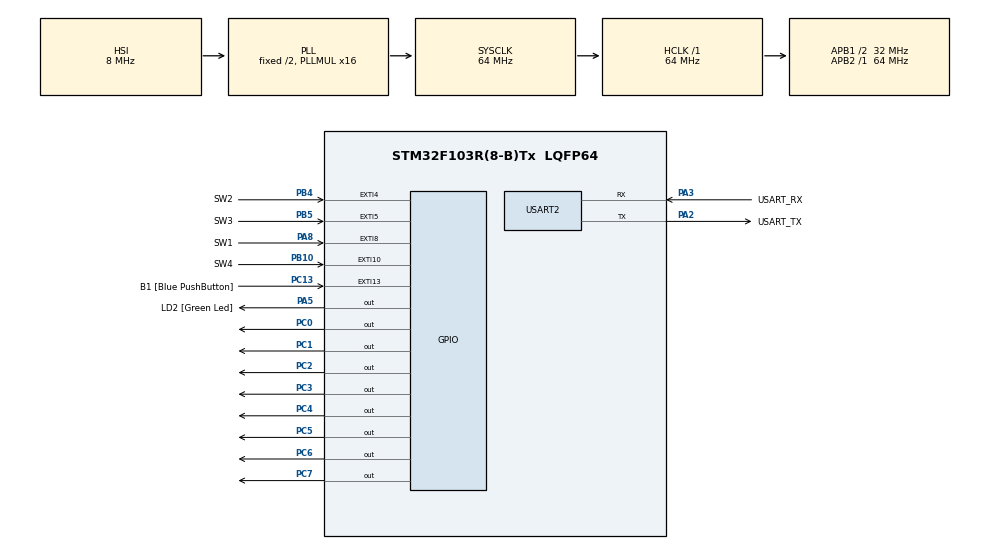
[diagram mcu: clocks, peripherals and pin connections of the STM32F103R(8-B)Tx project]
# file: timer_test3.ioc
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Mcu.Family=STM32F1
Mcu.Name=STM32F103R(8-B)Tx
Mcu.Package=LQFP64
NVIC.EXTI15_10_IRQn=true\:0\:0\:false\:false\:true\:true\:true\:true
NVIC.EXTI4_IRQn=true\:0\:0\:false\:false\:true\:true\:true\:true
NVIC.EXTI9_5_IRQn=true\:0\:0\:false\:false\:true\:true\:true\:true
NVIC.PriorityGroup=NVIC_PRIORITYGROUP_4
NVIC.TIM2_IRQn=true\:0\:0\:false\:false\:true\:true\:true\:true
PA13.GPIO_Label=TMS
PA13.Mode=Serial_Wire
PA13.Signal=SYS_JTMS-SWDIO
PA14.GPIO_Label=TCK
PA14.Mode=Serial_Wire
PA14.Signal=SYS_JTCK-SWCLK
PA2.GPIO_Label=USART_TX
PA2.GPIO_Mode=GPIO_MODE_AF_PP
PA2.GPIO_PuPd=GPIO_NOPULL
PA2.GPIO_Speed=GPIO_SPEED_FREQ_LOW
PA2.Mode=Asynchronous
PA2.Signal=USART2_TX
PA3.GPIO_Label=USART_RX
PA3.GPIO_Mode=GPIO_MODE_AF_PP
PA3.GPIO_PuPd=GPIO_NOPULL
PA3.GPIO_Speed=GPIO_SPEED_FREQ_LOW
PA3.Mode=Asynchronous
PA3.Signal=USART2_RX
PA5.GPIO_Label=LD2 [Green Led]
PA5.GPIO_ModeDefaultOutputPP=GPIO_MODE_OUTPUT_PP
PA5.GPIO_PuPd=GPIO_NOPULL
PA5.GPIO_Speed=GPIO_SPEED_FREQ_LOW
PA5.Signal=GPIO_Output
PA8.GPIO_Label=SW1
PA8.Signal=GPXTI8
PB10.GPIO_Label=SW4
PB10.Signal=GPXTI10
PB3.GPIO_Label=SWO
PB3.Signal=SYS_JTDO-TRACESWO
PB4.GPIO_Label=SW2
PB4.Signal=GPXTI4
PB5.GPIO_Label=SW3
PB5.Signal=GPXTI5
PC0.Signal=GPIO_Output
PC1.Signal=GPIO_Output
PC13-TAMPER-RTC.GPIO_Label=B1 [Blue PushButton]
PC13-TAMPER-RTC.GPIO_PuPd=GPIO_NOPULL
PC13-TAMPER-RTC.Signal=GPXTI13
PC14-OSC32_IN.Mode=LSE-External-Oscillator
PC14-OSC32_IN.Signal=RCC_OSC32_IN
PC15-OSC32_OUT.Mode=LSE-External-Oscillator
PC15-OSC32_OUT.Signal=RCC_OSC32_OUT
PC2.Signal=GPIO_Output
PC3.Signal=GPIO_Output
PC4.Signal=GPIO_Output
PC5.Signal=GPIO_Output
PC6.Signal=GPIO_Output
PC7.Signal=GPIO_Output
PD0-OSC_IN.Mode=HSE-External-Clock-Source
PD0-OSC_IN.Signal=RCC_OSC_IN
PD1-OSC_OUT.Mode=HSE-External-Clock-Source
PD1-OSC_OUT.Signal=RCC_OSC_OUT
ProjectManager.HeapSize=0x200
ProjectManager.StackSize=0x400
ProjectManager.TargetToolchain=STM32CubeIDE
RCC.AHBFreq_Value=64000000
RCC.APB1CLKDivider=RCC_HCLK_DIV2
RCC.APB1Freq_Value=32000000
RCC.APB1TimFreq_Value=64000000
RCC.APB2Freq_Value=64000000
RCC.APB2TimFreq_Value=64000000
RCC.HCLKFreq_Value=64000000
RCC.PLLMUL=RCC_PLL_MUL16
RCC.RTCClockSelection=RCC_RTCCLKSOURCE_LSE
RCC.SYSCLKFreq_VALUE=64000000
RCC.SYSCLKSource=RCC_SYSCLKSOURCE_PLLCLK
RCC.USBFreq_Value=64000000
TIM2.Channel-Output\ Compare1\ No\ Output=TIM_CHANNEL_1
TIM2.Period=10000-1
TIM2.Prescaler=6400-1
TIM2.Pulse-Output\ Compare1\ No\ Output=10000-1
USART2.VirtualMode=VM_ASYNC
VP_TIM2_VS_ClockSourceINT.Mode=Internal
VP_TIM2_VS_no_output1.Mode=Output Compare1 No Output
board=NUCLEO-F103RB

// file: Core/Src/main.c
/* USER CODE BEGIN Header */
/**
  ******************************************************************************
  * @file           : main.c
  * @brief          : Main program body
  ******************************************************************************
  * @attention
  *
  * Copyright (c) 2022 STMicroelectronics.
  * All rights reserved.
  *
  * This software is licensed under terms that can be found in the LICENSE file
  * in the root directory of this software component.
  * If no LICENSE file comes with this software, it is provided AS-IS.
  *
  ******************************************************************************
  */
/* USER CODE END Header */
#include "main.h"

/* USER CODE BEGIN Includes */
// 외부정의 변수로 선언
TIM_HandleTypeDef htim2;
//extern TIM_OC_InitTypeDef TIM_OCInit;
/* USER CODE END Includes */

// TIM_HandleTypeDef htim2;

UART_HandleTypeDef huart2;

void SystemClock_Config(void);
static void MX_GPIO_Init(void);
static void MX_USART2_UART_Init(void);
static void MX_TIM2_Init(void);

int main(void)
{

  /* MCU Configuration--------------------------------------------------------*/

  /* Reset of all peripherals, Initializes the Flash interface and the Systick. */
  HAL_Init();

  /* Configure the system clock */
  SystemClock_Config();

  /* Initialize all configured peripherals */
  MX_GPIO_Init();
  MX_USART2_UART_Init();
  MX_TIM2_Init();

  /* Infinite loop */
  while (1)
  {

  }
}

void SystemClock_Config(void)
{
  RCC_OscInitTypeDef RCC_OscInitStruct = {0};
  RCC_ClkInitTypeDef RCC_ClkInitStruct = {0};

  /** Initializes the RCC Oscillators according to the specified parameters
  * in the RCC_OscInitTypeDef structure.
  */
  RCC_OscInitStruct.OscillatorType = RCC_OSCILLATORTYPE_HSI;
  RCC_OscInitStruct.HSIState = RCC_HSI_ON;
  RCC_OscInitStruct.HSICalibrationValue = RCC_HSICALIBRATION_DEFAULT;
  RCC_OscInitStruct.PLL.PLLState = RCC_PLL_ON;
  RCC_OscInitStruct.PLL.PLLSource = RCC_PLLSOURCE_HSI_DIV2;
  RCC_OscInitStruct.PLL.PLLMUL = RCC_PLL_MUL16;
  if (HAL_RCC_OscConfig(&RCC_OscInitStruct) != HAL_OK)
  {
    Error_Handler();
  }

  /** Initializes the CPU, AHB and APB buses clocks
  */
  RCC_ClkInitStruct.ClockType = RCC_CLOCKTYPE_HCLK|RCC_CLOCKTYPE_SYSCLK
                              |RCC_CLOCKTYPE_PCLK1|RCC_CLOCKTYPE_PCLK2;
  RCC_ClkInitStruct.SYSCLKSource = RCC_SYSCLKSOURCE_PLLCLK;
  RCC_ClkInitStruct.AHBCLKDivider = RCC_SYSCLK_DIV1;
  RCC_ClkInitStruct.APB1CLKDivider = RCC_HCLK_DIV2;
  RCC_ClkInitStruct.APB2CLKDivider = RCC_HCLK_DIV1;

  if (HAL_RCC_ClockConfig(&RCC_ClkInitStruct, FLASH_LATENCY_2) != HAL_OK)
  {
    Error_Handler();
  }
}

static void MX_TIM2_Init(void)
{

  TIM_ClockConfigTypeDef sClockSourceConfig = {0};
  TIM_MasterConfigTypeDef sMasterConfig = {0};
  TIM_OC_InitTypeDef sConfigOC = {0};

  htim2.Instance = TIM2;
  htim2.Init.Prescaler = 6400-1;
  htim2.Init.CounterMode = TIM_COUNTERMODE_UP;
  htim2.Init.Period = 10000-1;
  htim2.Init.ClockDivision = TIM_CLOCKDIVISION_DIV1;
  htim2.Init.AutoReloadPreload = TIM_AUTORELOAD_PRELOAD_DISABLE;
  if (HAL_TIM_Base_Init(&htim2) != HAL_OK)
  {
    Error_Handler();
  }
  sClockSourceConfig.ClockSource = TIM_CLOCKSOURCE_INTERNAL;
  if (HAL_TIM_ConfigClockSource(&htim2, &sClockSourceConfig) != HAL_OK)
  {
    Error_Handler();
  }
  if (HAL_TIM_OC_Init(&htim2) != HAL_OK)
  {
    Error_Handler();
  }
  sMasterConfig.MasterOutputTrigger = TIM_TRGO_RESET;
  sMasterConfig.MasterSlaveMode = TIM_MASTERSLAVEMODE_DISABLE;
  if (HAL_TIMEx_MasterConfigSynchronization(&htim2, &sMasterConfig) != HAL_OK)
  {
    Error_Handler();
  }
  sConfigOC.OCMode = TIM_OCMODE_TIMING;
  sConfigOC.Pulse = 10000-1;
  sConfigOC.OCPolarity = TIM_OCPOLARITY_HIGH;
  sConfigOC.OCFastMode = TIM_OCFAST_DISABLE;
  if (HAL_TIM_OC_ConfigChannel(&htim2, &sConfigOC, TIM_CHANNEL_1) != HAL_OK)
  {
    Error_Handler();
  }
  /* USER CODE BEGIN TIM2_Init 2 */
	if (HAL_TIM_Base_Start_IT(&htim2) != HAL_OK) {
		Error_Handler();
	}
	if (HAL_TIM_OC_Start_IT(&htim2, TIM_CHANNEL_1) != HAL_OK) {
		Error_Handler();
	}
  /* USER CODE END TIM2_Init 2 */

}

static void MX_USART2_UART_Init(void)
{

  huart2.Instance = USART2;
  huart2.Init.BaudRate = 115200;
  huart2.Init.WordLength = UART_WORDLENGTH_8B;
  huart2.Init.StopBits = UART_STOPBITS_1;
  huart2.Init.Parity = UART_PARITY_NONE;
  huart2.Init.Mode = UART_MODE_TX_RX;
  huart2.Init.HwFlowCtl = UART_HWCONTROL_NONE;
  huart2.Init.OverSampling = UART_OVERSAMPLING_16;
  if (HAL_UART_Init(&huart2) != HAL_OK)
  {
    Error_Handler();
  }

}

static void MX_GPIO_Init(void)
{
  GPIO_InitTypeDef GPIO_InitStruct = {0};

  /* GPIO Ports Clock Enable */
  __HAL_RCC_GPIOC_CLK_ENABLE();
  __HAL_RCC_GPIOD_CLK_ENABLE();
  __HAL_RCC_GPIOA_CLK_ENABLE();
  __HAL_RCC_GPIOB_CLK_ENABLE();

  /*Configure GPIO pin Output Level */
  HAL_GPIO_WritePin(GPIOC, GPIO_PIN_0|GPIO_PIN_1|GPIO_PIN_2|GPIO_PIN_3
                          |GPIO_PIN_4|GPIO_PIN_5|GPIO_PIN_6|GPIO_PIN_7, GPIO_PIN_RESET);

  /*Configure GPIO pin Output Level */
  HAL_GPIO_WritePin(LD2_GPIO_Port, LD2_Pin, GPIO_PIN_RESET);

  /*Configure GPIO pin : B1_Pin */
  GPIO_InitStruct.Pin = B1_Pin;
  GPIO_InitStruct.Mode = GPIO_MODE_IT_RISING;
  GPIO_InitStruct.Pull = GPIO_NOPULL;
  HAL_GPIO_Init(B1_GPIO_Port, &GPIO_InitStruct);

  /*Configure GPIO pins : PC0 PC1 PC2 PC3
                           PC4 PC5 PC6 PC7 */
  GPIO_InitStruct.Pin = GPIO_PIN_0|GPIO_PIN_1|GPIO_PIN_2|GPIO_PIN_3
                          |GPIO_PIN_4|GPIO_PIN_5|GPIO_PIN_6|GPIO_PIN_7;
  GPIO_InitStruct.Mode = GPIO_MODE_OUTPUT_PP;
  GPIO_InitStruct.Pull = GPIO_NOPULL;
  GPIO_InitStruct.Speed = GPIO_SPEED_FREQ_LOW;
  HAL_GPIO_Init(GPIOC, &GPIO_InitStruct);

  /*Configure GPIO pin : LD2_Pin */
  GPIO_InitStruct.Pin = LD2_Pin;
  GPIO_InitStruct.Mode = GPIO_MODE_OUTPUT_PP;
  GPIO_InitStruct.Pull = GPIO_NOPULL;
  GPIO_InitStruct.Speed = GPIO_SPEED_FREQ_LOW;
  HAL_GPIO_Init(LD2_GPIO_Port, &GPIO_InitStruct);

  /*Configure GPIO pins : SW4_Pin SW2_Pin SW3_Pin */
  GPIO_InitStruct.Pin = SW4_Pin|SW2_Pin|SW3_Pin;
  GPIO_InitStruct.Mode = GPIO_MODE_IT_RISING;
  GPIO_InitStruct.Pull = GPIO_NOPULL;
  HAL_GPIO_Init(GPIOB, &GPIO_InitStruct);

  /*Configure GPIO pin : SW1_Pin */
  GPIO_InitStruct.Pin = SW1_Pin;
  GPIO_InitStruct.Mode = GPIO_MODE_IT_RISING;
  GPIO_InitStruct.Pull = GPIO_NOPULL;
  HAL_GPIO_Init(SW1_GPIO_Port, &GPIO_InitStruct);

  /* EXTI interrupt init*/
  HAL_NVIC_SetPriority(EXTI4_IRQn, 0, 0);
  HAL_NVIC_EnableIRQ(EXTI4_IRQn);

  HAL_NVIC_SetPriority(EXTI9_5_IRQn, 0, 0);
  HAL_NVIC_EnableIRQ(EXTI9_5_IRQn);

  HAL_NVIC_SetPriority(EXTI15_10_IRQn, 0, 0);
  HAL_NVIC_EnableIRQ(EXTI15_10_IRQn);

}

/* USER CODE BEGIN 4 */
void HAL_GPIO_EXTI_Callback(uint16_t GPIO_Pin) {
	TIM_OC_InitTypeDef TIM_OCInit = {0};
	if (GPIO_Pin == SW1_Pin) {
		TIM_OCInit.Pulse = 999;
		HAL_TIM_OC_ConfigChannel(&htim2, &TIM_OCInit, TIM_CHANNEL_1);
//		__HAL_TIM_SET_COMPARE(&htim2, TIM_CHANNEL_1, 1000 - 1);
//		TIM2->CCR1 = 1000 - 1;
	}
	if (GPIO_Pin == SW2_Pin) {
		TIM_OCInit.Pulse = 2999;
		HAL_TIM_OC_ConfigChannel(&htim2, &TIM_OCInit, TIM_CHANNEL_1);
//		__HAL_TIM_SET_COMPARE(&htim2, TIM_CHANNEL_1, 2000 - 1);
//		TIM2->CCR1 = 2000 - 1;
	}
	if (GPIO_Pin == SW3_Pin) {
		TIM_OCInit.Pulse = 4999;
		HAL_TIM_OC_ConfigChannel(&htim2, &TIM_OCInit, TIM_CHANNEL_1);
//		__HAL_TIM_SET_COMPARE(&htim2, TIM_CHANNEL_1, 5000 - 1);
//		TIM2->CCR1 = 5000 - 1;
	}
	if (GPIO_Pin == SW4_Pin) {
		TIM_OCInit.Pulse = 9999;
		HAL_TIM_OC_ConfigChannel(&htim2, &TIM_OCInit, TIM_CHANNEL_1);
//		__HAL_TIM_SET_COMPARE(&htim2, TIM_CHANNEL_1, 10000 - 1);
//		TIM2->CCR1 = 10000 - 1;
	}
}
void HAL_TIM_PeriodElapsedCallback(TIM_HandleTypeDef *htim) {
	GPIOC->BSRR = 0xff; // Turn on all LEDs
}
void HAL_TIM_OC_DelayElapsedCallback(TIM_HandleTypeDef *htim) {
	GPIOC->BRR = 0xff; // Turn off all LEDs
}
/* USER CODE END 4 */

void Error_Handler(void)
{
  __disable_irq();
  while (1)
  {
  }
}
